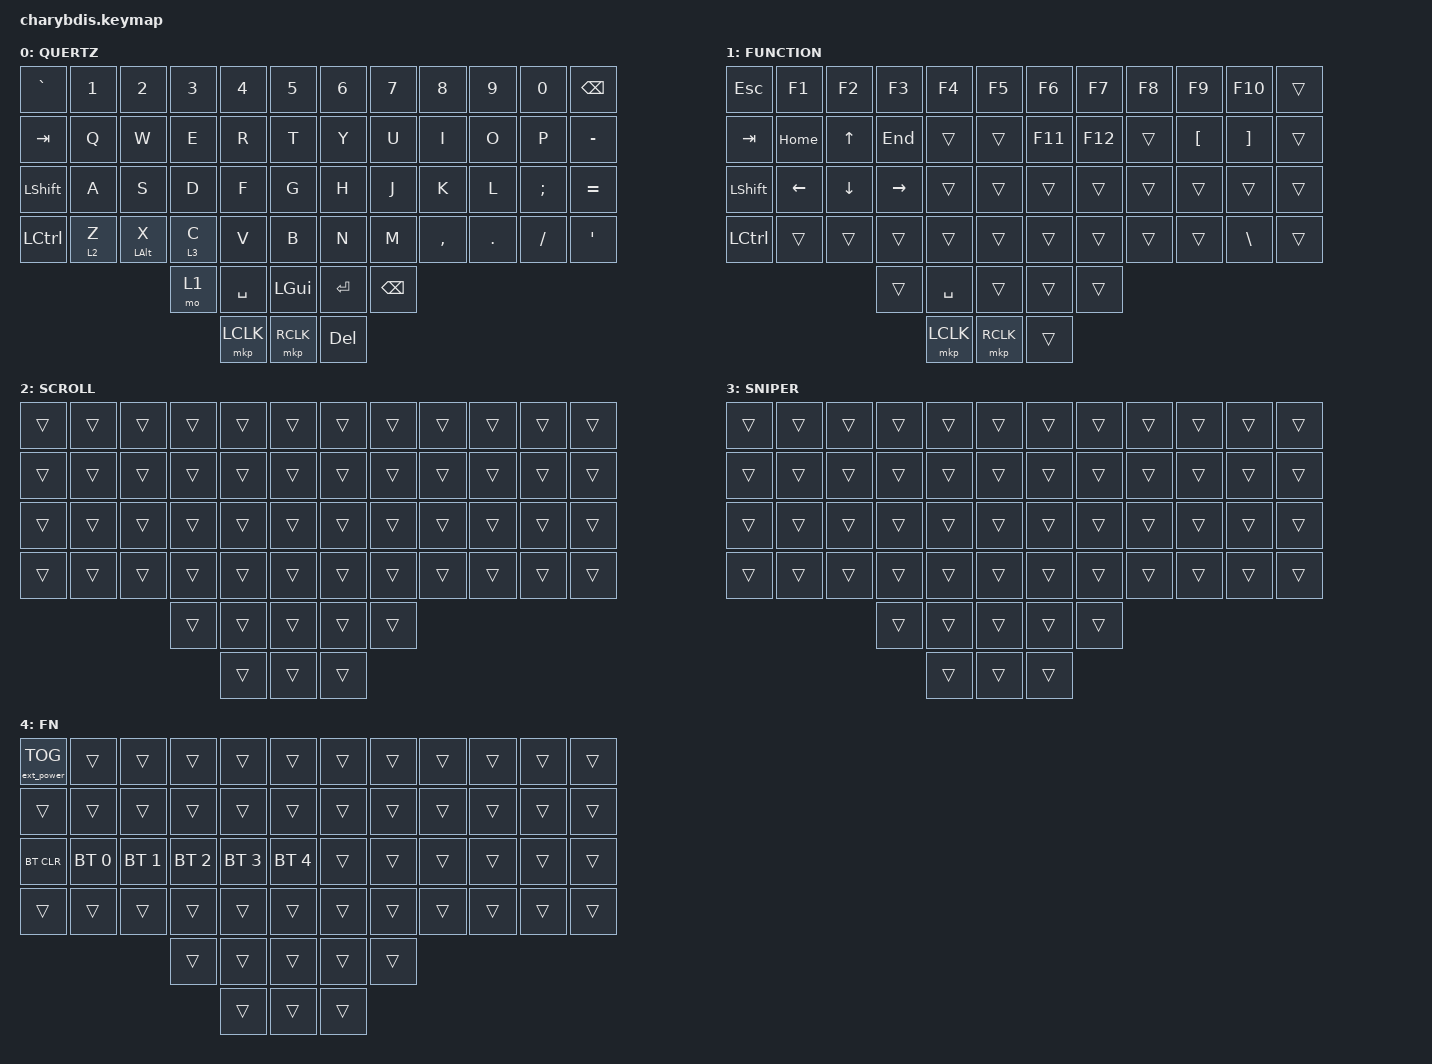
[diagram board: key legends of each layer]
//#include "keys_de_swiss.h"

#include <dt-bindings/zmk/mouse.h>
#include <behaviors/mouse_keys.dtsi>
#include <behaviors.dtsi>
#include <dt-bindings/zmk/bt.h>
#include <dt-bindings/zmk/ext_power.h>
#include <dt-bindings/zmk/keys.h>
#include <dt-bindings/zmk/pointing.h>

// / {
//     chosen { zmk,matrix_transform = &default_transform; };
// };

/ {
    /* input config for mouse move mode */

    trackball_listener {
        compatible = "zmk,input-behavior-listener";
        device = <&vtrackball>;
        layers = <0 3 6>;
        evt-type = <INPUT_EV_REL>;
        x-input-code = <INPUT_REL_X>;
        y-input-code = <INPUT_REL_Y>;
        scale-multiplier = <1>;
        scale-divisor = <3>;

        // bindings = <&ib_toggle_layer 7>;
    };

    /* input config for snipe mode */

    trackball_snipe_listener {
        compatible = "zmk,input-behavior-listener";
        device = <&vtrackball>;
        layers = <3>;
        evt-type = <INPUT_EV_REL>;
        x-input-code = <INPUT_REL_X>;
        y-input-code = <INPUT_REL_Y>;
        scale-multiplier = <1>;
        scale-divisor = <5>;
    };

    /* input config for mouse scroll mode */

    trackball_scroll_listener {
        compatible = "zmk,input-behavior-listener";
        device = <&vtrackball>;
        layers = <2>;
        evt-type = <INPUT_EV_REL>;
        x-input-code = <INPUT_REL_MISC>;
        y-input-code = <INPUT_REL_WHEEL>;
        y-invert;
        bindings = <&ib_wheel_scaler 1 30>;
    };

    /* define a resolution down scaler only for INPUT_REL_WHEEL */

    ib_wheel_scaler: ib_wheel_scaler {
        compatible = "zmk,input-behavior-scaler";
        #binding-cells = <2>;
        evt-type = <INPUT_EV_REL>;
        input-code = <INPUT_REL_WHEEL>;
    };

    /* adjust cooldown waiting period for mouse key layer after activated */

    ib_toggle_layer: ib_toggle_layer {
        compatible = "zmk,input-behavior-tog-layer";
        #binding-cells = <1>;
        time-to-live-ms = <750>;
    };

    // #define QUERTZ    0
    // #define NUMBERS   1
    // #define NAV-FUN   2
    // #define MAC       3
    // #define MAC-NUM   4
    // #define MAC-NAV   5
    // #define GAME      6
    // #define GAME-NUM  7
    // #define GAME-NAV  8
    // #define SCROLL    9
    // #define SNIPER   10
    // #define FN       11

    combos { compatible = "zmk,combos"; };

    behaviors {
        hmr: hmr {
            compatible = "zmk,behavior-hold-tap";
            label = "HMR";
            bindings = <&kp>, <&kp>;

            #binding-cells = <2>;
            tapping-term-ms = <200>;
            quick-tap-ms = <175>;
            flavor = "balanced";
            hold-trigger-key-positions = <0 1 2 3 4 5 12 13 14 15 16 17 24 25 26 27 28 29 36 37 38 39 40 41 48 49 50 53 54 51 52 55>;
            hold-trigger-on-release;
        };

        hml: hml {
            compatible = "zmk,behavior-hold-tap";
            label = "HML";
            bindings = <&kp>, <&kp>;

            #binding-cells = <2>;
            tapping-term-ms = <200>;
            quick-tap-ms = <175>;
            flavor = "balanced";
            hold-trigger-key-positions = <48 49 50 53 54 51 52 55 6 7 8 9 10 11 18 19 20 21 22 23 30 31 32 33 34 35 42 43 44 45 46 47 51 52>;
            hold-trigger-on-release;
        };
    };

    keymap {
        compatible = "zmk,keymap";

        default {
            bindings = <
&kp GRAVE       &kp N1   &kp N2           &kp N3   &kp N4     &kp N5          &kp N6     &kp N7         &kp N8     &kp N9   &kp N0         &kp BSPC
&kp TAB         &kp Q    &kp W            &kp E    &kp R      &kp T           &kp Y      &kp U          &kp I      &kp O    &kp P          &kp MINUS
&kp LEFT_SHIFT  &kp A    &kp S            &kp D    &kp F      &kp G           &kp H      &kp J          &kp K      &kp L    &kp SEMICOLON  &kp EQUAL
&kp LCTRL       &lt 2 Z  &hml LEFT_ALT X  &lt 3 C  &kp V      &kp B           &kp N      &kp M          &kp COMMA  &kp DOT  &kp SLASH      &kp SQT
                                          &mo 1    &kp SPACE  &kp LEFT_GUI    &kp ENTER  &kp BACKSPACE
                                                   &mkp LCLK  &mkp RCLK       &kp DEL
            >;

            label = "QUERTZ";
        };

        FUNCTION {
            bindings = <
&kp ESC         &kp F1    &kp F2    &kp F3     &kp F4     &kp F5       &kp F6   &kp F7   &kp F8  &kp F9    &kp F10        &trans
&kp TAB         &kp HOME  &kp UP    &kp END    &trans     &trans       &kp F11  &kp F12  &trans  &kp LBKT  &kp RBKT       &trans
&kp LEFT_SHIFT  &kp LEFT  &kp DOWN  &kp RIGHT  &trans     &trans       &trans   &trans   &trans  &trans    &trans         &trans
&kp LCTRL       &trans    &trans    &trans     &trans     &trans       &trans   &trans   &trans  &trans    &kp BACKSLASH  &trans
                                    &trans     &kp SPACE  &trans       &trans   &trans
                                               &mkp LCLK  &mkp RCLK    &trans
            >;
        };

        scroll_layer {
            bindings = <
&trans  &trans  &trans  &trans  &trans  &trans    &trans  &trans  &trans  &trans  &trans  &trans
&trans  &trans  &trans  &trans  &trans  &trans    &trans  &trans  &trans  &trans  &trans  &trans
&trans  &trans  &trans  &trans  &trans  &trans    &trans  &trans  &trans  &trans  &trans  &trans
&trans  &trans  &trans  &trans  &trans  &trans    &trans  &trans  &trans  &trans  &trans  &trans
                        &trans  &trans  &trans    &trans  &trans
                                &trans  &trans    &trans
            >;

            label = "SCROLL";
        };

        sniper_layer {
            bindings = <
&trans  &trans  &trans  &trans  &trans  &trans    &trans  &trans  &trans  &trans  &trans  &trans
&trans  &trans  &trans  &trans  &trans  &trans    &trans  &trans  &trans  &trans  &trans  &trans
&trans  &trans  &trans  &trans  &trans  &trans    &trans  &trans  &trans  &trans  &trans  &trans
&trans  &trans  &trans  &trans  &trans  &trans    &trans  &trans  &trans  &trans  &trans  &trans
                        &trans  &trans  &trans    &trans  &trans
                                &trans  &trans    &trans
            >;

            label = "SNIPER";
        };

        keeb_pref_layer {
            label = "FN";
            bindings = <
&ext_power EP_TOG  &trans        &trans        &trans        &trans        &trans          &trans  &trans  &trans  &trans  &trans  &trans
&trans             &trans        &trans        &trans        &trans        &trans          &trans  &trans  &trans  &trans  &trans  &trans
&bt BT_CLR         &bt BT_SEL 0  &bt BT_SEL 1  &bt BT_SEL 2  &bt BT_SEL 3  &bt BT_SEL 4    &trans  &trans  &trans  &trans  &trans  &trans
&trans             &trans        &trans        &trans        &trans        &trans          &trans  &trans  &trans  &trans  &trans  &trans
                                               &trans        &trans        &trans          &trans  &trans
                                                             &trans        &trans          &trans
            >;
        };
    };
};
